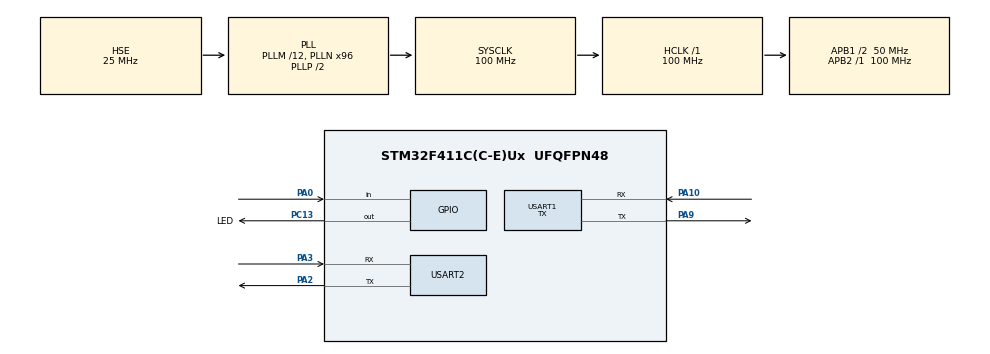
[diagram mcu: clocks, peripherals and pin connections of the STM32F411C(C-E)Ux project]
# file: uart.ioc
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Mcu.Family=STM32F4
Mcu.Name=STM32F411C(C-E)Ux
Mcu.Package=UFQFPN48
NVIC.PriorityGroup=NVIC_PRIORITYGROUP_4
NVIC.USART2_IRQn=true\:0\:0\:false\:false\:true\:true\:true\:true
PA0-WKUP.GPIO_PuPd=GPIO_PULLUP
PA0-WKUP.Signal=GPIO_Input
PA10.Mode=Asynchronous
PA10.Signal=USART1_RX
PA2.Mode=Asynchronous
PA2.Signal=USART2_TX
PA3.Mode=Asynchronous
PA3.Signal=USART2_RX
PA9.Mode=Asynchronous
PA9.Signal=USART1_TX
PC13-ANTI_TAMP.GPIO_Label=LED
PC13-ANTI_TAMP.Signal=GPIO_Output
PH0\ -\ OSC_IN.Mode=HSE-External-Oscillator
PH0\ -\ OSC_IN.Signal=RCC_OSC_IN
PH1\ -\ OSC_OUT.Mode=HSE-External-Oscillator
PH1\ -\ OSC_OUT.Signal=RCC_OSC_OUT
ProjectManager.HeapSize=0x200
ProjectManager.StackSize=0x400
ProjectManager.TargetToolchain=STM32CubeIDE
RCC.48MHZClocksFreq_Value=50000000
RCC.AHBFreq_Value=100000000
RCC.APB1CLKDivider=RCC_HCLK_DIV2
RCC.APB1Freq_Value=50000000
RCC.APB1TimFreq_Value=100000000
RCC.APB2Freq_Value=100000000
RCC.APB2TimFreq_Value=100000000
RCC.CortexFreq_Value=100000000
RCC.HCLKFreq_Value=100000000
RCC.HSE_VALUE=25000000
RCC.HSI_VALUE=16000000
RCC.LSE_VALUE=32768
RCC.PLLM=12
RCC.PLLN=96
RCC.PLLSourceVirtual=RCC_PLLSOURCE_HSE
RCC.SYSCLKFreq_VALUE=100000000
RCC.SYSCLKSource=RCC_SYSCLKSOURCE_PLLCLK
RCC.VCOOutputFreq_Value=200000000
USART1.Mode=MODE_TX
USART1.VirtualMode=VM_ASYNC
USART2.VirtualMode=VM_ASYNC
board=custom

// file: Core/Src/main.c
/* USER CODE BEGIN Header */
/**
  ******************************************************************************
  * @file           : main.c
  * @brief          : Main program body
  ******************************************************************************
  * @attention
  *
  * Copyright (c) 2026 STMicroelectronics.
  * All rights reserved.
  *
  * This software is licensed under terms that can be found in the LICENSE file
  * in the root directory of this software component.
  * If no LICENSE file comes with this software, it is provided AS-IS.
  *
  ******************************************************************************
  */
/* USER CODE END Header */
#include "main.h"
#include "usart.h"
#include "gpio.h"

/* USER CODE BEGIN Includes */
#include <string.h>
#include <stdio.h>
#include <stdarg.h>
#include <stdbool.h>
/* USER CODE END Includes */

/* USER CODE BEGIN PD */
#define ACK_TIMEOUT_MS 200
#define MAX_RETRIES    3
/* USER CODE END PD */

/* USER CODE BEGIN PV */
#define RB_SIZE 64
static volatile uint8_t  rb[RB_SIZE];
static volatile uint16_t rb_head = 0;
static volatile uint16_t rb_tail = 0;
static uint8_t           rx_byte;

static volatile uint32_t link_errors = 0;
static volatile uint32_t rb_overflow = 0;

static char    line[32];
static uint8_t line_len = 0;
/* USER CODE END PV */

void SystemClock_Config(void);

/* USER CODE BEGIN 0 */
static void log_printf(const char *fmt, ...)
{
  char buf[96];
  va_list ap;
  va_start(ap, fmt);
  int n = vsnprintf(buf, sizeof buf, fmt, ap);
  va_end(ap);
  if (n <= 0) return;
  if (n > (int)sizeof buf - 1) n = sizeof buf - 1;
  HAL_UART_Transmit(&huart1, (uint8_t *)buf, (uint16_t)n, 50);
}

static void link_send(const char *s)
{
  HAL_UART_Transmit(&huart2, (uint8_t *)s, (uint16_t)strlen(s), 50);
}

static void led_set(int on)
{
  HAL_GPIO_WritePin(GPIOC, GPIO_PIN_13, on ? GPIO_PIN_RESET : GPIO_PIN_SET);
}

void HAL_UART_RxCpltCallback(UART_HandleTypeDef *huart)
{
  if (huart->Instance == USART2) {
    uint16_t next = (rb_head + 1) % RB_SIZE;
    if (next != rb_tail) {
      rb[rb_head] = rx_byte;
      rb_head = next;
    } else {
      rb_overflow++;
    }
    HAL_UART_Receive_IT(&huart2, &rx_byte, 1);
  }
}

void HAL_UART_ErrorCallback(UART_HandleTypeDef *huart)
{
  if (huart->Instance == USART2) {
    link_errors++;
    __HAL_UART_CLEAR_OREFLAG(huart);
    HAL_UART_Receive_IT(&huart2, &rx_byte, 1);
  }
}

static bool rb_get(uint8_t *c)
{
  if (rb_tail == rb_head) return false;
  *c = rb[rb_tail];
  rb_tail = (rb_tail + 1) % RB_SIZE;
  return true;
}

static void rb_flush(void)
{
  rb_tail = rb_head;
}

static bool read_line(char *buf, size_t len, uint32_t timeout_ms)
{
  size_t n = 0;
  uint32_t start = HAL_GetTick();
  while (HAL_GetTick() - start < timeout_ms) {
    uint8_t c;
    if (!rb_get(&c)) continue;
    if (c == '\r') continue;
    if (c == '\n') { buf[n] = '\0'; return true; }
    if (n < len - 1) buf[n++] = (char)c;
  }
  buf[n] = '\0';
  return false;
}

static bool send_cmd(const char *cmd)
{
  char tx[16], expected[16], rx[32];
  snprintf(tx, sizeof tx, "%s\n", cmd);
  snprintf(expected, sizeof expected, "ACK %s", cmd);

  for (int attempt = 1; attempt <= MAX_RETRIES; attempt++) {
    rb_flush();
    link_send(tx);
    log_printf("[STM] TX -> %s (attempt %d)\r\n", cmd, attempt);

    if (read_line(rx, sizeof rx, ACK_TIMEOUT_MS) && strcmp(rx, expected) == 0) {
      log_printf("[STM] RX <- %s\r\n", rx);
      return true;
    }
    log_printf("[STM] NO ACK (got: '%s')\r\n", rx);
  }
  log_printf("[STM] ESP32 not responding after %d attempts\r\n", MAX_RETRIES);
  return false;
}

static bool button_pressed(void)
{
  return HAL_GPIO_ReadPin(GPIOA, GPIO_PIN_0) == GPIO_PIN_RESET;
}
/* USER CODE END 0 */

int main(void)
{

  /* MCU Configuration--------------------------------------------------------*/

  /* Reset of all peripherals, Initializes the Flash interface and the Systick. */
  HAL_Init();

  /* Configure the system clock */
  SystemClock_Config();

  /* Initialize all configured peripherals */
  MX_GPIO_Init();
  MX_USART1_UART_Init();
  MX_USART2_UART_Init();
  /* USER CODE BEGIN 2 */
  	led_set(0);
    log_printf("\r\n[STM] boot. button PA0 -> ESP32 LED\r\n");
    HAL_UART_Receive_IT(&huart2, &rx_byte, 1);
    bool remote_led = false;
    uint32_t last_errors = 0;
  /* USER CODE END 2 */

  /* Infinite loop */
  /* USER CODE BEGIN WHILE */
    while (1)
      {
        if (button_pressed()) {
          HAL_Delay(20);                       // debounce
          if (button_pressed()) {
            remote_led = !remote_led;
            if (send_cmd(remote_led ? "ON" : "OFF")) {
              led_set(remote_led);             // PC13 дублює стан LED на ESP
            } else {
              remote_led = !remote_led;        // відкат, ESP не підтвердив
            }
            while (button_pressed()) HAL_Delay(10);  // чекаємо відпускання
          }
        }

        if (link_errors != last_errors) {
          last_errors = link_errors;
          log_printf("[STM] UART error #%lu\r\n", (unsigned long)last_errors);
        }

        HAL_Delay(10);
    /* USER CODE END WHILE */

  }
}

void SystemClock_Config(void)
{
  RCC_OscInitTypeDef RCC_OscInitStruct = {0};
  RCC_ClkInitTypeDef RCC_ClkInitStruct = {0};

  /** Configure the main internal regulator output voltage
  */
  __HAL_RCC_PWR_CLK_ENABLE();
  __HAL_PWR_VOLTAGESCALING_CONFIG(PWR_REGULATOR_VOLTAGE_SCALE1);

  /** Initializes the RCC Oscillators according to the specified parameters
  * in the RCC_OscInitTypeDef structure.
  */
  RCC_OscInitStruct.OscillatorType = RCC_OSCILLATORTYPE_HSE;
  RCC_OscInitStruct.HSEState = RCC_HSE_ON;
  RCC_OscInitStruct.PLL.PLLState = RCC_PLL_ON;
  RCC_OscInitStruct.PLL.PLLSource = RCC_PLLSOURCE_HSE;
  RCC_OscInitStruct.PLL.PLLM = 12;
  RCC_OscInitStruct.PLL.PLLN = 96;
  RCC_OscInitStruct.PLL.PLLP = RCC_PLLP_DIV2;
  RCC_OscInitStruct.PLL.PLLQ = 4;
  if (HAL_RCC_OscConfig(&RCC_OscInitStruct) != HAL_OK)
  {
    Error_Handler();
  }

  /** Initializes the CPU, AHB and APB buses clocks
  */
  RCC_ClkInitStruct.ClockType = RCC_CLOCKTYPE_HCLK|RCC_CLOCKTYPE_SYSCLK
                              |RCC_CLOCKTYPE_PCLK1|RCC_CLOCKTYPE_PCLK2;
  RCC_ClkInitStruct.SYSCLKSource = RCC_SYSCLKSOURCE_PLLCLK;
  RCC_ClkInitStruct.AHBCLKDivider = RCC_SYSCLK_DIV1;
  RCC_ClkInitStruct.APB1CLKDivider = RCC_HCLK_DIV2;
  RCC_ClkInitStruct.APB2CLKDivider = RCC_HCLK_DIV1;

  if (HAL_RCC_ClockConfig(&RCC_ClkInitStruct, FLASH_LATENCY_3) != HAL_OK)
  {
    Error_Handler();
  }
}

void Error_Handler(void)
{
  __disable_irq();
  while (1)
  {
  }
}
